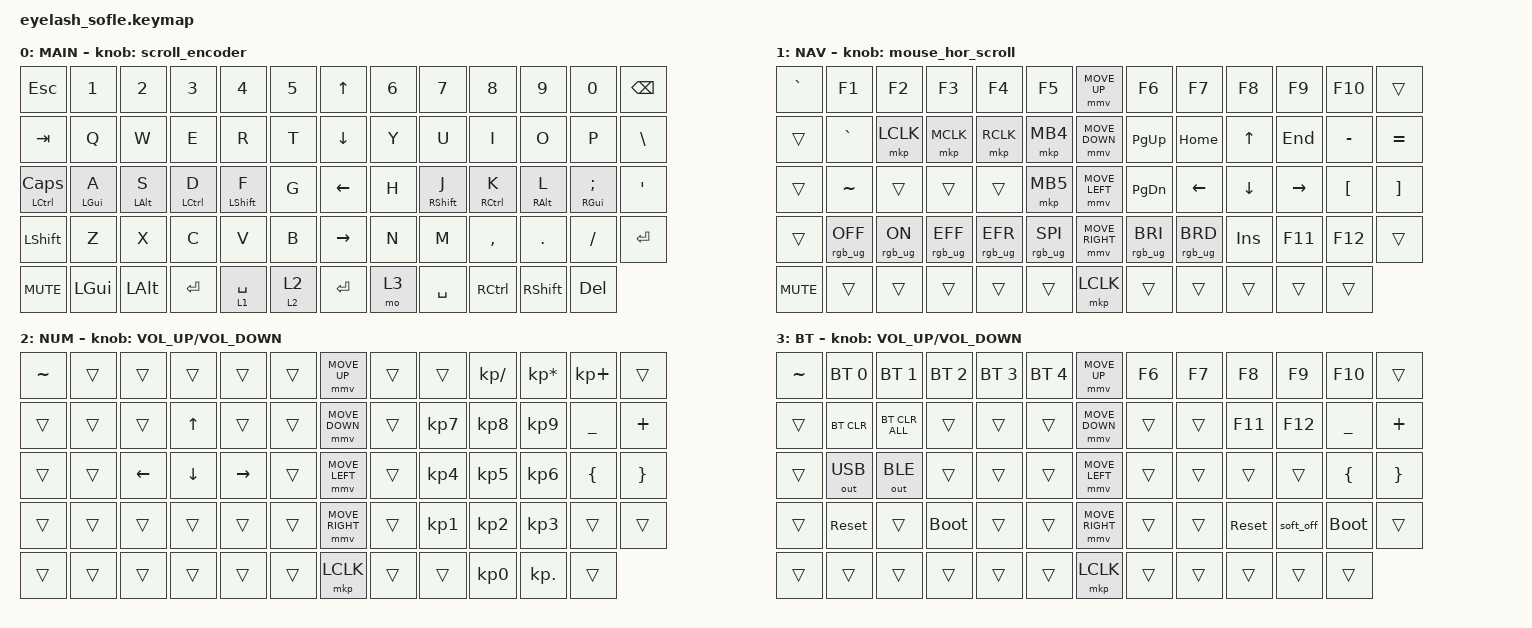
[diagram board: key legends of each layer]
#define ZMK_POINTING_DEFAULT_MOVE_VAL 1200  // 600
#define ZMK_POINTING_DEFAULT_SCRL_VAL 25   // 10

#include <input/processors.dtsi>
#include <zephyr/dt-bindings/input/input-event-codes.h>
#include <behaviors.dtsi>
#include <dt-bindings/zmk/bt.h>
#include <dt-bindings/zmk/keys.h>
#include <dt-bindings/zmk/outputs.h>
#include <dt-bindings/zmk/pointing.h>
#include <dt-bindings/zmk/rgb.h>

&mmv_input_listener { input-processors = <&zip_xy_scaler 2 1>; };

&msc_input_listener { input-processors = <&zip_scroll_scaler 2 1>; };

&msc {
    acceleration-exponent = <1>;      // 0
    time-to-max-speed-ms = <100>;       // 300
    delay-ms = <0>;                   // 0
};

&mmv {
    time-to-max-speed-ms = <500>;
    acceleration-exponent = <1>;
    trigger-period-ms = <16>;
};

&soft_off { hold-time-ms = <2000>; };

/ {
    scroll_encoder: scroll_encoder {
        compatible = "zmk,behavior-sensor-rotate";
        #sensor-binding-cells = <0>;
        bindings = <&msc SCRL_DOWN>, <&msc SCRL_UP>;

        tap-ms = <100>;
    };

    mouse_hor_scroll: mouse_hor_scroll {
        compatible = "zmk,behavior-sensor-rotate";
        label = "MOUSE_HOR_SCROLL";
        #sensor-binding-cells = <0>;
        bindings = <&msc SCRL_LEFT>, <&msc SCRL_RIGHT>;

        tap-ms = <100>;
    };

    behaviors {
        lh_hrm: left_hand_hrm {
            compatible = "zmk,behavior-hold-tap";
            #binding-cells = <2>;
            flavor = "tap-preferred";
            require-prior-idle-ms = <150>;
            tapping-term-ms = <250>;
            quick-tap-ms = <175>;
            bindings = <&kp>, <&kp>;

            // List of keys on the right side of the keyboard

            hold-trigger-key-positions = <6 7 8 9 10 11 12 19 20 21 22 23 24 25 32 33 34 35 36 37 38 45 46 47 48 49 50 51 58 59 60 61 62 63>;
            hold-trigger-on-release;
        };

        rh_hrm: right_hand_hrm {
            compatible = "zmk,behavior-hold-tap";
            #binding-cells = <2>;
            flavor = "tap-preferred";
            require-prior-idle-ms = <150>;
            tapping-term-ms = <250>;
            quick-tap-ms = <175>;
            bindings = <&kp>, <&kp>;

            // List of keys on the left side of the keyboard

            hold-trigger-key-positions = <0 1 2 3 4 5 6 13 14 15 16 17 18 19 26 27 28 29 30 31 32 39 40 41 42 43 44 45 52 53 54 55 56 57 58>;
            hold-trigger-on-release;
        };

        ht_layer: ht_layer {
            compatible = "zmk,behavior-hold-tap";
            #binding-cells = <2>;
            flavor = "tap-preferred";
            require-prior-idle-ms = <150>;
            tapping-term-ms = <250>;
            quick-tap-ms = <175>;
            bindings = <&mo>, <&tog>;

            hold-trigger-on-release;
            label = "HT_LAYER";
        };

        ht_mo_kp: ht_mo_kp {
            compatible = "zmk,behavior-hold-tap";
            #binding-cells = <2>;
            flavor = "tap-preferred";
            require-prior-idle-ms = <150>;
            tapping-term-ms = <250>;
            quick-tap-ms = <175>;
            bindings = <&mo>, <&kp>;

            hold-trigger-on-release;
            label = "HT_MO_KP";
        };
    };

    combos {
        compatible = "zmk,combos";

        softoff {
            bindings = <&soft_off>;
            key-positions = <14 28 40>;
        };
    };

    keymap {
        compatible = "zmk,keymap";

        layer_main {
            bindings = <
&kp ESC                &kp N1          &kp N2          &kp N3           &kp N4             &kp N5           &kp UP_ARROW     &kp N6  &kp N7           &kp N8             &kp N9           &kp N0             &kp BACKSPACE
&kp TAB                &kp Q           &kp W           &kp E            &kp R              &kp T            &kp DOWN_ARROW   &kp Y   &kp U            &kp I              &kp O            &kp P              &kp BSLH
&mt LEFT_CONTROL CAPS  &lh_hrm LGUI A  &lh_hrm LALT S  &lh_hrm LCTRL D  &lh_hrm LSHFT F    &kp G            &kp LEFT_ARROW   &kp H   &rh_hrm RSHFT J  &rh_hrm RCTRL K    &rh_hrm RALT L   &rh_hrm RGUI SEMI  &kp APOS
&kp LSHFT              &kp Z           &kp X           &kp C            &kp V              &kp B            &kp RIGHT_ARROW  &kp N   &kp M            &kp COMMA          &kp DOT          &kp FSLH           &kp ENTER
&kp C_MUTE             &kp LEFT_GUI    &kp LEFT_ALT    &kp ENTER        &ht_mo_kp 1 SPACE  &ht_layer 2 2    &kp ENTER        &mo 3   &kp SPACE        &kp RIGHT_CONTROL  &kp RIGHT_SHIFT  &kp DELETE
            >;

            sensor-bindings = <&scroll_encoder>;
            label = "MAIN";
        };

        layer_0 {
            bindings = <
&kp GRAVE   &kp F1           &kp F2          &kp F3           &kp F4           &kp F5             &mmv MOVE_UP     &kp F6           &kp F7           &kp F8      &kp F9     &kp F10           &trans
&trans      &kp GRAVE        &mkp LCLK       &mkp MCLK        &mkp RCLK        &mkp MB4           &mmv MOVE_DOWN   &kp PG_UP        &kp HOME         &kp UP      &kp END    &kp MINUS         &kp EQUAL
&trans      &kp TILDE        &trans          &trans           &trans           &mkp MB5           &mmv MOVE_LEFT   &kp PG_DN        &kp LEFT         &kp DOWN    &kp RIGHT  &kp LEFT_BRACKET  &kp RIGHT_BRACKET
&trans      &rgb_ug RGB_OFF  &rgb_ug RGB_ON  &rgb_ug RGB_EFF  &rgb_ug RGB_EFR  &rgb_ug RGB_SPI    &mmv MOVE_RIGHT  &rgb_ug RGB_BRI  &rgb_ug RGB_BRD  &kp INSERT  &kp F11    &kp F12           &trans
&kp C_MUTE  &trans           &trans          &trans           &trans           &trans             &mkp LCLK        &trans           &trans           &trans      &trans     &trans
            >;

            sensor-bindings = <&mouse_hor_scroll>;
            label = "NAV";
        };

        layer_1 {
            bindings = <
&kp TILDE  &trans  &trans          &trans          &trans           &trans    &mmv MOVE_UP     &trans  &trans           &kp KP_DIVIDE  &kp KP_MULTIPLY  &kp KP_PLUS     &trans
&trans     &trans  &trans          &kp UP_ARROW    &trans           &trans    &mmv MOVE_DOWN   &trans  &kp KP_N7        &kp KP_N8      &kp KP_N9        &kp UNDERSCORE  &kp PLUS
&trans     &trans  &kp LEFT_ARROW  &kp DOWN_ARROW  &kp RIGHT_ARROW  &trans    &mmv MOVE_LEFT   &trans  &kp KP_N4        &kp KP_N5      &kp KP_N6        &kp LEFT_BRACE  &kp RIGHT_BRACE
&trans     &trans  &trans          &trans          &trans           &trans    &mmv MOVE_RIGHT  &trans  &kp KP_NUMBER_1  &kp KP_N2      &kp KP_NUMBER_3  &trans          &trans
&trans     &trans  &trans          &trans          &trans           &trans    &mkp LCLK        &trans  &trans           &kp KP_N0      &kp KP_DOT       &trans
            >;

            sensor-bindings = <&inc_dec_kp C_VOLUME_UP C_VOLUME_DOWN>;
            label = "NUM";
        };

        layer_2 {
            bindings = <
&kp TILDE  &bt BT_SEL 0  &bt BT_SEL 1    &bt BT_SEL 2  &bt BT_SEL 3  &bt BT_SEL 4    &mmv MOVE_UP     &kp F6  &kp F7  &kp F8      &kp F9     &kp F10      &trans
&trans     &bt BT_CLR    &bt BT_CLR_ALL  &trans        &trans        &trans          &mmv MOVE_DOWN   &trans  &trans  &kp F11     &kp F12    &kp UNDER    &kp PLUS
&trans     &out OUT_USB  &out OUT_BLE    &trans        &trans        &trans          &mmv MOVE_LEFT   &trans  &trans  &trans      &trans     &kp LBRC     &kp RBRC
&trans     &sys_reset    &trans          &bootloader   &trans        &trans          &mmv MOVE_RIGHT  &trans  &trans  &sys_reset  &soft_off  &bootloader  &trans
&trans     &trans        &trans          &trans        &trans        &trans          &mkp LCLK        &trans  &trans  &trans      &trans     &trans
            >;

            sensor-bindings = <&inc_dec_kp C_VOL_UP C_VOLUME_DOWN>;
            label = "BT";
        };
    };
};
